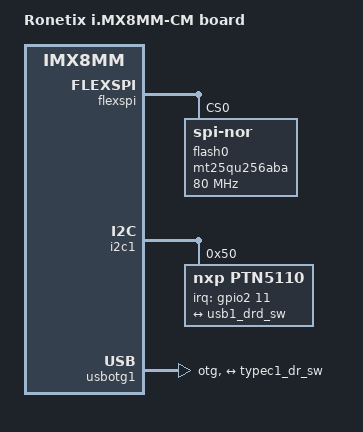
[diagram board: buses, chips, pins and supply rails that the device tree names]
// SPDX-License-Identifier: (GPL-2.0+ OR MIT)
/*
 * Copyright 2019-2020 NXP
 */

/dts-v1/;

#include <dt-bindings/usb/pd.h>
#include "imx8mm-ronetix.dtsi"

/ {
	model = "Ronetix i.MX8MM-CM board";
	compatible = "ronetix,imx8mm-cm", "fsl,imx8mm";
	
	aliases {
		spi0 = &flexspi;
	};
};

&flexspi {
	pinctrl-names = "default";
	pinctrl-0 = <&pinctrl_flexspi>;
	status = "okay";

	flash0: mt25qu256aba@0 {
		reg = <0>;
		compatible = "jedec,spi-nor";
		spi-max-frequency = <80000000>;
		spi-tx-bus-width = <4>;
		spi-rx-bus-width = <4>;
	};
};

&i2c1 {
	ptn5110: tcpc@50 {
		compatible = "nxp,ptn5110";
		pinctrl-names = "default";
		pinctrl-0 = <&pinctrl_typec1>;
		reg = <0x50>;
		interrupt-parent = <&gpio2>;
		interrupts = <11 8>;
		status = "okay";

		port {
			typec1_dr_sw: endpoint {
				remote-endpoint = <&usb1_drd_sw>;
			};
		};

		typec1_con: connector {
			compatible = "usb-c-connector";
			label = "USB-C";
			power-role = "dual";
			data-role = "dual";
			try-power-role = "sink";
			source-pdos = <PDO_FIXED(5000, 3000, PDO_FIXED_USB_COMM)>;
			sink-pdos = <PDO_FIXED(5000, 3000, PDO_FIXED_USB_COMM)
				     PDO_VAR(5000, 20000, 3000)>;
			op-sink-microwatt = <15000000>;
			self-powered;
		};
	};
};

&usbotg1 {
	dr_mode = "otg";
	hnp-disable;
	srp-disable;
	adp-disable;
	usb-role-switch;
	disable-over-current;
	samsung,picophy-pre-emp-curr-control = <3>;
	samsung,picophy-dc-vol-level-adjust = <7>;
	status = "okay";

	port {
		usb1_drd_sw: endpoint {
			remote-endpoint = <&typec1_dr_sw>;
		};
	};
};

&iomuxc {
	pinctrl_flexspi: flexspigrp {
		fsl,pins = <
			MX8MM_IOMUXC_NAND_ALE_QSPI_A_SCLK               0x1c2
			MX8MM_IOMUXC_NAND_CE0_B_QSPI_A_SS0_B            0x82
			MX8MM_IOMUXC_NAND_DATA00_QSPI_A_DATA0           0x82
			MX8MM_IOMUXC_NAND_DATA01_QSPI_A_DATA1           0x82
			MX8MM_IOMUXC_NAND_DATA02_QSPI_A_DATA2           0x82
			MX8MM_IOMUXC_NAND_DATA03_QSPI_A_DATA3           0x82
		>;
	};

	pinctrl_typec1: typec1grp {
		fsl,pins = <
			MX8MM_IOMUXC_SD1_STROBE_GPIO2_IO11	0x159	/* TCPC_nINT */
		>;
	};
};
